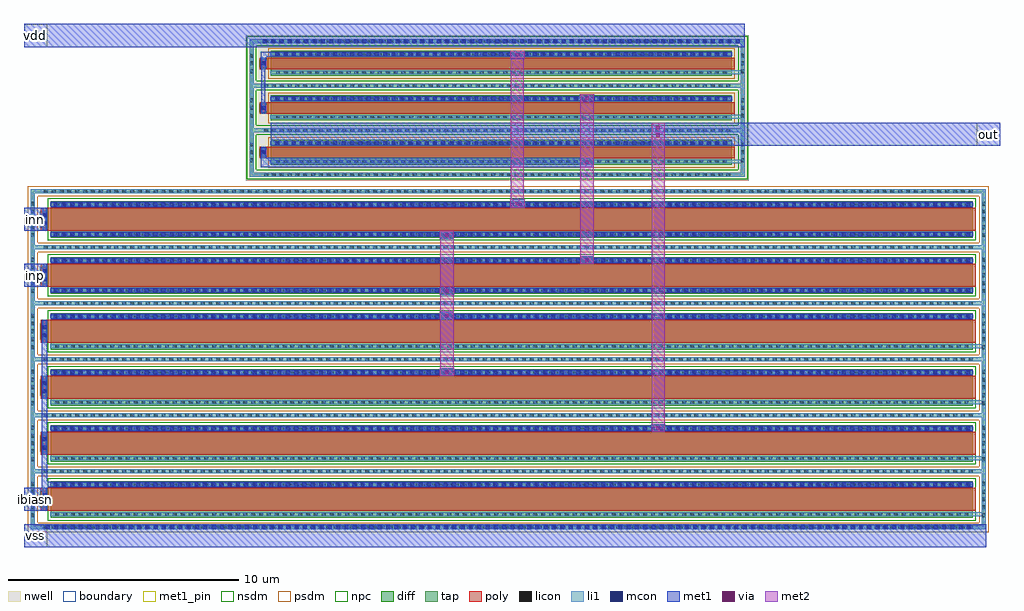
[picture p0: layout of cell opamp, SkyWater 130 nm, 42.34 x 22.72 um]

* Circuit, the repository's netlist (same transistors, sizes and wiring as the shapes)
** sch_path: /home/erwann/design_worksapce/sky130A/HelloWorld/xschem/opamp.sch
.subckt opamp vdd out inp inn ibiasn vss
*.PININFO inn:I inp:I vdd:B vss:B ibiasn:B out:O
XM1 pbias inn tail vss sky130_fd_pr__nfet_01v8 L=1 W=40 nf=1 m=1
XM2 outz inp tail vss sky130_fd_pr__nfet_01v8 L=1 W=40 nf=1 m=1
XM3 pbias pbias vdd vdd sky130_fd_pr__pfet_01v8 L=0.5 W=20 nf=1 m=1
XM4 outz pbias vdd vdd sky130_fd_pr__pfet_01v8 L=0.5 W=20 nf=1 m=1
XM5 out outz vdd vdd sky130_fd_pr__pfet_01v8 L=0.5 W=20 nf=1 m=1
XM6[1] tail ibiasn vss vss sky130_fd_pr__nfet_01v8 L=1 W=40 nf=1 m=1
XM6[0] tail ibiasn vss vss sky130_fd_pr__nfet_01v8 L=1 W=40 nf=1 m=1
XM7 out ibiasn vss vss sky130_fd_pr__nfet_01v8 L=1 W=40 nf=1 m=1
XM8 ibiasn ibiasn vss vss sky130_fd_pr__nfet_01v8 L=1 W=40 nf=1 m=1
.ends
.end

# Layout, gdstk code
from math import pi, radians
import gdstk
lib = gdstk.Library(unit=1e-6, precision=1e-09)
def R(c, l, rs):  # rectangles x0, y0, x1, y1
    for r in rs: c.add(gdstk.rectangle(r[:2], r[2:], *l))
def A(c, l, x, y, w, h, nx, ny, dx, dy):  # array of equal rectangles
    R(c, l, [(x+i*dx, y+j*dy, x+i*dx+w, y+j*dy+h) for i in range(nx) for j in range(ny)])
nwell = (64, 20)
diff = (65, 20)
tap = (65, 44)
poly = (66, 20)
licon = (66, 44)
li1 = (67, 20)
mcon = (67, 44)
met1_pin = (68, 16)
met1 = (68, 20)
via = (68, 44)
met2 = (69, 20)
nsdm = (93, 44)
psdm = (94, 20)
npc = (95, 20)
boundary = (235, 4)

sky130_fd_pr__nfet_01v8_ = lib.new_cell('sky130_fd_pr__nfet_01v8_KWM3S5')
R(sky130_fd_pr__nfet_01v8_, diff, [(-0.79,-19.845,0.79,20.155)])
R(sky130_fd_pr__nfet_01v8_, tap, [(-1.3,-20.715,1.3,-20.545), (-1.3,-20.545,-1.13,20.545), (1.13,-20.545,1.3,20.545), (-1.3,20.545,1.3,20.715)])
R(sky130_fd_pr__nfet_01v8_, poly, [(-0.5,-20.285,0.5,20.285)])
A(sky130_fd_pr__nfet_01v8_, licon, -0.765, -20.715, 0.17, 0.17, 5, 2, 0.34, 41.26)
A(sky130_fd_pr__nfet_01v8_, licon, -1.3, -20.145, 0.17, 0.17, 1, 119, 0, 0.34)
A(sky130_fd_pr__nfet_01v8_, licon, 1.13, -20.145, 0.17, 0.17, 1, 119, 0, 0.34)
A(sky130_fd_pr__nfet_01v8_, licon, -0.73, -19.65, 0.17, 0.17, 1, 117, 0, 0.34)
A(sky130_fd_pr__nfet_01v8_, licon, 0.56, -19.65, 0.17, 0.17, 1, 117, 0, 0.34)
R(sky130_fd_pr__nfet_01v8_, licon, [(-0.255,-20.205,-0.085,-20.035), (0.085,-20.205,0.255,-20.035)])
R(sky130_fd_pr__nfet_01v8_, li1, [(-1.3,-20.715,1.3,-20.545), (-1.3,-20.545,-1.13,20.545), (1.13,-20.545,1.3,20.545), (-0.5,-20.205,0.5,-20.035), (-0.73,-19.865,-0.56,20.175), (0.56,-19.865,0.73,20.175), (-1.3,20.545,1.3,20.715)])
A(sky130_fd_pr__nfet_01v8_, mcon, -0.73, -19.73, 0.17, 0.17, 1, 111, 0, 0.36)
R(sky130_fd_pr__nfet_01v8_, mcon, [(-0.265,-20.205,-0.095,-20.035), (0.095,-20.205,0.265,-20.035)])
R(sky130_fd_pr__nfet_01v8_, met1, [(-0.48,-20.235,0.48,-20.005), (-0.76,-19.845,-0.53,20.155)])
R(sky130_fd_pr__nfet_01v8_, nsdm, [(-0.915,-19.97,0.915,20.28)])
R(sky130_fd_pr__nfet_01v8_, psdm, [(-1.425,-20.84,1.425,-20.42), (-1.425,-20.42,-1.005,20.42), (1.005,-20.42,1.425,20.42), (-1.425,20.42,1.425,20.84)])
R(sky130_fd_pr__nfet_01v8_, npc, [(-0.355,-20.305,0.355,-19.935)])
R(sky130_fd_pr__nfet_01v8_, boundary, [(-1.215,-20.63,1.215,20.63)])

sky130_fd_pr__pfet_01v8_ = lib.new_cell('sky130_fd_pr__pfet_01v8_LZG3QU')
R(sky130_fd_pr__pfet_01v8_, nwell, [(-1.23,-10.92,1.23,10.92)])
R(sky130_fd_pr__pfet_01v8_, diff, [(-0.54,-9.82,0.54,10.18)])
R(sky130_fd_pr__pfet_01v8_, tap, [(-1.05,-10.74,1.05,-10.57), (-1.05,-10.57,-0.88,10.57), (0.88,-10.57,1.05,10.57), (-1.05,10.57,1.05,10.74)])
R(sky130_fd_pr__pfet_01v8_, poly, [(-0.25,-10.305,0.25,10.31)])
A(sky130_fd_pr__pfet_01v8_, licon, -0.425, -10.74, 0.17, 0.17, 3, 2, 0.34, 21.31)
A(sky130_fd_pr__pfet_01v8_, licon, -1.05, -10.115, 0.17, 0.17, 1, 60, 0, 0.34)
A(sky130_fd_pr__pfet_01v8_, licon, 0.88, -10.115, 0.17, 0.17, 1, 60, 0, 0.34)
A(sky130_fd_pr__pfet_01v8_, licon, -0.48, -9.595, 0.17, 0.17, 1, 58, 0, 0.34)
A(sky130_fd_pr__pfet_01v8_, licon, 0.31, -9.595, 0.17, 0.17, 1, 58, 0, 0.34)
R(sky130_fd_pr__pfet_01v8_, licon, [(-0.085,-10.225,0.085,-10.055)])
R(sky130_fd_pr__pfet_01v8_, li1, [(-1.05,-10.74,1.05,-10.57), (-1.05,-10.57,-0.88,10.57), (0.88,-10.57,1.05,10.57), (-0.25,-10.225,0.25,-10.055), (-0.48,-9.84,-0.31,10.2), (0.31,-9.84,0.48,10.2), (-1.05,10.57,1.05,10.74)])
A(sky130_fd_pr__pfet_01v8_, mcon, -0.48, -9.625, 0.17, 0.17, 1, 55, 0, 0.36)
R(sky130_fd_pr__pfet_01v8_, mcon, [(-0.085,-10.225,0.085,-10.055)])
R(sky130_fd_pr__pfet_01v8_, met1, [(-0.23,-10.255,0.23,-10.025), (-0.51,-9.82,-0.28,10.18)])
R(sky130_fd_pr__pfet_01v8_, nsdm, [(-1.175,-10.865,1.175,-10.445), (-1.175,-10.445,-0.755,10.445), (0.755,-10.445,1.175,10.445), (-1.175,10.445,1.175,10.865)])
R(sky130_fd_pr__pfet_01v8_, psdm, [(-0.665,-9.945,0.665,10.305)])
R(sky130_fd_pr__pfet_01v8_, npc, [(-0.185,-10.325,0.185,-9.955)])
R(sky130_fd_pr__pfet_01v8_, boundary, [(-0.965,-10.655,0.965,10.655)])

c_sky130_fd_pr__nfet_01v8_ = lib.new_cell('sky130_fd_pr__nfet_01v8_K2PRWZ')
R(c_sky130_fd_pr__nfet_01v8_, diff, [(-0.79,-19.845,0.79,20.155)])
R(c_sky130_fd_pr__nfet_01v8_, tap, [(-1.3,-20.715,1.3,-20.545), (-1.3,-20.545,-1.13,20.545), (1.13,-20.545,1.3,20.545), (-1.3,20.545,1.3,20.715)])
R(c_sky130_fd_pr__nfet_01v8_, poly, [(-0.5,-20.285,0.5,20.285)])
A(c_sky130_fd_pr__nfet_01v8_, licon, -0.765, -20.715, 0.17, 0.17, 5, 2, 0.34, 41.26)
A(c_sky130_fd_pr__nfet_01v8_, licon, -1.3, -20.145, 0.17, 0.17, 1, 119, 0, 0.34)
A(c_sky130_fd_pr__nfet_01v8_, licon, 1.13, -20.145, 0.17, 0.17, 1, 119, 0, 0.34)
A(c_sky130_fd_pr__nfet_01v8_, licon, -0.73, -19.65, 0.17, 0.17, 1, 117, 0, 0.34)
A(c_sky130_fd_pr__nfet_01v8_, licon, 0.56, -19.65, 0.17, 0.17, 1, 117, 0, 0.34)
R(c_sky130_fd_pr__nfet_01v8_, licon, [(-0.255,-20.205,-0.085,-20.035), (0.085,-20.205,0.255,-20.035)])
R(c_sky130_fd_pr__nfet_01v8_, li1, [(-1.3,-20.715,1.3,-20.545), (-1.3,-20.545,-1.13,20.545), (1.13,-20.545,1.3,20.545), (-0.5,-20.205,0.5,-20.035), (-0.73,-19.865,-0.56,20.175), (0.56,-19.865,0.73,20.175), (-1.3,20.545,1.3,20.715)])
A(c_sky130_fd_pr__nfet_01v8_, mcon, -0.73, -19.73, 0.17, 0.17, 1, 111, 0, 0.36)
A(c_sky130_fd_pr__nfet_01v8_, mcon, 0.56, -19.73, 0.17, 0.17, 1, 111, 0, 0.36)
R(c_sky130_fd_pr__nfet_01v8_, mcon, [(-0.265,-20.205,-0.095,-20.035), (0.095,-20.205,0.265,-20.035)])
R(c_sky130_fd_pr__nfet_01v8_, met1, [(-0.48,-20.235,0.48,-20.005), (-0.76,-19.845,-0.53,20.155), (0.53,-19.845,0.76,20.155)])
R(c_sky130_fd_pr__nfet_01v8_, nsdm, [(-0.915,-19.97,0.915,20.28)])
R(c_sky130_fd_pr__nfet_01v8_, psdm, [(-1.425,-20.84,1.425,-20.42), (-1.425,-20.42,-1.005,20.42), (1.005,-20.42,1.425,20.42), (-1.425,20.42,1.425,20.84)])
R(c_sky130_fd_pr__nfet_01v8_, npc, [(-0.355,-20.305,0.355,-19.935)])
R(c_sky130_fd_pr__nfet_01v8_, boundary, [(-1.215,-20.63,1.215,20.63)])

opamp = lib.new_cell('opamp')
A(opamp, li1, 61.69, 16.15, 0.62, 0.17, 1, 4, 0, 2.43)
R(opamp, li1, [(21.36,15.58,61.83,15.75), (51.235,31.455,51.82,31.625), (51.27,33.385,51.855,33.56), (51.235,35.315,51.82,35.49), (30.86,36.675,51.725,36.845)])
A(opamp, mcon, 21.53, 15.58, 0.17, 0.17, 112, 1, 0.36, 0)
A(opamp, mcon, 30.945, 36.675, 0.17, 0.17, 58, 1, 0.36, 0)
R(opamp, met1_pin, [(20.6,14.8,21.6,15.8), (20.6,16.38,21.6,17.38), (20.6,26.1,21.6,27.1), (20.6,28.53,21.6,29.53), (61.925,32.215,62.925,33.215), (20.6,36.5,21.6,37.5)])
R(opamp, met1, [(20.6,14.8,62.33,15.8), (20.6,16.38,21.6,17.38), (21.36,17.38,21.6,17.41), (21.36,17.41,22.27,17.64), (21.36,17.64,21.6,24.65), (47.79,19.84,48.4,20.14), (38.62,22.24,39.25,22.58), (38.63,24.67,39.23,25.02), (38.62,25.75,39.24,26.09), (20.6,26.1,21.6,27.1), (44.71,27.13,45.31,27.43), (38.63,28.18,39.23,28.53), (20.6,28.53,21.6,29.53), (41.67,29.53,42.3,29.9), (30.85,31.29,45.3,31.71), (30.885,31.71,31.055,32.16), (31.29,32.215,62.925,33.215), (30.885,33.63,31.055,35.965), (44.7,34.14,45.32,34.46), (30.86,35.965,31.09,36.075), (41.68,35.98,42.3,36.34), (30.86,36.075,31.355,36.305), (20.585,36.485,51.855,37.52)])
R(opamp, via, [(48.02,19.905,48.17,20.055), (38.86,22.335,39.01,22.485), (38.855,24.775,39.005,24.925), (38.86,25.845,39.01,25.995), (44.935,27.195,45.085,27.345), (38.86,28.275,39.01,28.425), (41.91,29.645,42.06,29.795), (44.925,31.42,45.075,31.57), (48.015,32.61,48.165,32.76), (48.015,32.93,48.165,33.08), (44.925,34.215,45.075,34.365), (41.915,36.085,42.065,36.235)])
R(opamp, met2, [(47.815,19.81,48.385,33.21), (38.62,22.24,39.25,22.58), (38.65,22.58,39.22,24.67), (38.63,24.67,39.23,25.02), (38.65,25.02,39.22,25.75), (38.62,25.75,39.24,26.09), (38.65,26.09,39.22,28.18), (44.725,27.1,45.295,34.46), (38.63,28.18,39.23,28.53), (41.67,29.53,42.3,29.9), (41.705,29.9,42.275,35.98), (41.68,35.98,42.3,36.34)])
opamp.add(gdstk.Reference(sky130_fd_pr__nfet_01v8_, (41.595,19.31), rotation=3*pi/2))
opamp.add(gdstk.Reference(sky130_fd_pr__nfet_01v8_, (41.595,24.17), rotation=3*pi/2))
opamp.add(gdstk.Reference(sky130_fd_pr__nfet_01v8_, (41.595,21.74), rotation=3*pi/2))
opamp.add(gdstk.Reference(sky130_fd_pr__pfet_01v8_, (41.115,35.795), rotation=3*pi/2))
opamp.add(gdstk.Reference(c_sky130_fd_pr__nfet_01v8_, (41.595,26.6), rotation=3*pi/2))
opamp.add(gdstk.Reference(c_sky130_fd_pr__nfet_01v8_, (41.595,29.03), rotation=3*pi/2))
opamp.add(gdstk.Reference(sky130_fd_pr__pfet_01v8_, (41.115,31.935), rotation=3*pi/2))
opamp.add(gdstk.Reference(sky130_fd_pr__pfet_01v8_, (41.115,33.865), rotation=3*pi/2))
opamp.add(gdstk.Reference(sky130_fd_pr__nfet_01v8_, (41.595,16.88), rotation=3*pi/2))
opamp.add(gdstk.Label('vdd', (21.1,37), layer=68, texttype=5))
opamp.add(gdstk.Label('out', (62.425,32.715), layer=68, texttype=5))
opamp.add(gdstk.Label('inp', (21.1,26.6), layer=68, texttype=5))
opamp.add(gdstk.Label('inn', (21.1,29.03), layer=68, texttype=5))
opamp.add(gdstk.Label('ibiasn', (21.1,16.88), layer=68, texttype=5))
opamp.add(gdstk.Label('vss', (21.1,15.3), layer=68, texttype=5))

lib.write_gds('opamp.gds')
